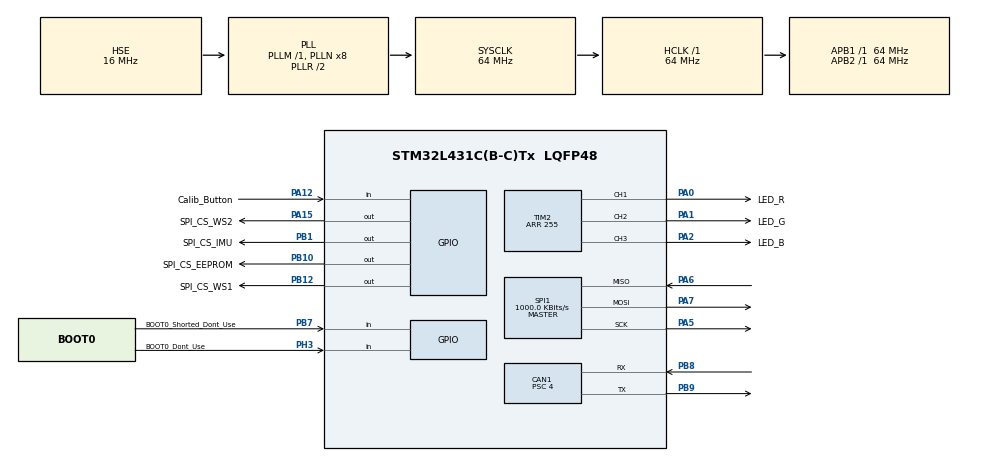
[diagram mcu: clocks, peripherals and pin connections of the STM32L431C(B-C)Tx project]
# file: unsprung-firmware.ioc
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CAN1.BS1=CAN_BS1_12TQ
CAN1.BS2=CAN_BS2_3TQ
CAN1.CalculateBaudRate=1000000
CAN1.CalculateTimeBit=1000
CAN1.CalculateTimeQuantum=62.5
CAN1.Prescaler=4
Mcu.Family=STM32L4
Mcu.Name=STM32L431C(B-C)Tx
Mcu.Package=LQFP48
NVIC.PriorityGroup=NVIC_PRIORITYGROUP_4
PA0.GPIO_Label=LED_R
PA0.GPIO_ModeDefaultPP=GPIO_MODE_AF_OD
PA0.GPIO_Speed=GPIO_SPEED_FREQ_VERY_HIGH
PA0.Signal=S_TIM2_CH1
PA1.GPIO_Label=LED_G
PA1.GPIO_ModeDefaultPP=GPIO_MODE_AF_OD
PA1.GPIO_Speed=GPIO_SPEED_FREQ_VERY_HIGH
PA1.Signal=S_TIM2_CH2
PA12.GPIO_Label=Calib_Button
PA12.Signal=GPIO_Input
PA13\ (JTMS-SWDIO).Mode=Trace_Asynchronous_SW
PA13\ (JTMS-SWDIO).Signal=SYS_JTMS-SWDIO
PA14\ (JTCK-SWCLK).Mode=Trace_Asynchronous_SW
PA14\ (JTCK-SWCLK).Signal=SYS_JTCK-SWCLK
PA15\ (JTDI).GPIO_Label=SPI_CS_WS2
PA15\ (JTDI).GPIO_Speed=GPIO_SPEED_FREQ_VERY_HIGH
PA15\ (JTDI).PinState=GPIO_PIN_SET
PA15\ (JTDI).Signal=GPIO_Output
PA2.GPIO_Label=LED_B
PA2.GPIO_ModeDefaultPP=GPIO_MODE_AF_OD
PA2.GPIO_Speed=GPIO_SPEED_FREQ_VERY_HIGH
PA2.Signal=S_TIM2_CH3
PA5.Mode=Full_Duplex_Master
PA5.Signal=SPI1_SCK
PA6.Mode=Full_Duplex_Master
PA6.Signal=SPI1_MISO
PA7.Mode=Full_Duplex_Master
PA7.Signal=SPI1_MOSI
PB1.GPIO_Label=SPI_CS_IMU
PB1.GPIO_Speed=GPIO_SPEED_FREQ_VERY_HIGH
PB1.PinState=GPIO_PIN_SET
PB1.Signal=GPIO_Output
PB10.GPIO_Label=SPI_CS_EEPROM
PB10.GPIO_Speed=GPIO_SPEED_FREQ_VERY_HIGH
PB10.PinState=GPIO_PIN_SET
PB10.Signal=GPIO_Output
PB12.GPIO_Label=SPI_CS_WS1
PB12.GPIO_Speed=GPIO_SPEED_FREQ_VERY_HIGH
PB12.PinState=GPIO_PIN_SET
PB12.Signal=GPIO_Output
PB3\ (JTDO-TRACESWO).Mode=Trace_Asynchronous_SW
PB3\ (JTDO-TRACESWO).Signal=SYS_JTDO-SWO
PB7.GPIO_Label=BOOT0_Shorted_Dont_Use
PB7.Signal=GPIO_Input
PB8.Mode=CAN_Activate
PB8.Signal=CAN1_RX
PB9.Mode=CAN_Activate
PB9.Signal=CAN1_TX
PH0-OSC_IN\ (PH0).Mode=HSE-External-Oscillator
PH0-OSC_IN\ (PH0).Signal=RCC_OSC_IN
PH1-OSC_OUT\ (PH1).Mode=HSE-External-Oscillator
PH1-OSC_OUT\ (PH1).Signal=RCC_OSC_OUT
PH3-BOOT0.GPIO_Label=BOOT0_Dont_Use
PH3-BOOT0.Signal=GPIO_Input
ProjectManager.HeapSize=0x200
ProjectManager.StackSize=0x400
ProjectManager.TargetToolchain=STM32CubeIDE
RCC.ADCFreq_Value=64000000
RCC.AHBFreq_Value=64000000
RCC.APB1Freq_Value=64000000
RCC.APB1TimFreq_Value=64000000
RCC.APB2Freq_Value=64000000
RCC.APB2TimFreq_Value=64000000
RCC.CortexFreq_Value=64000000
RCC.HCLKFreq_Value=64000000
RCC.HSE_VALUE=16000000
RCC.HSI48_VALUE=48000000
RCC.HSI_VALUE=16000000
RCC.LSE_VALUE=32768
RCC.MSI_VALUE=4000000
RCC.PLLSourceVirtual=RCC_PLLSOURCE_HSE
RCC.SYSCLKFreq_VALUE=64000000
RCC.SYSCLKSource=RCC_SYSCLKSOURCE_PLLCLK
RCC.VCOOutputFreq_Value=128000000
SH.S_TIM2_CH1.0=TIM2_CH1,PWM Generation1 CH1
SH.S_TIM2_CH2.0=TIM2_CH2,PWM Generation2 CH2
SH.S_TIM2_CH3.0=TIM2_CH3,PWM Generation3 CH3
SPI1.BaudRatePrescaler=SPI_BAUDRATEPRESCALER_64
SPI1.CLKPhase=SPI_PHASE_2EDGE
SPI1.CLKPolarity=SPI_POLARITY_HIGH
SPI1.CalculateBaudRate=1000.0 KBits/s
SPI1.DataSize=SPI_DATASIZE_8BIT
SPI1.Direction=SPI_DIRECTION_2LINES
SPI1.Mode=SPI_MODE_MASTER
SPI1.VirtualType=VM_MASTER
TIM2.AutoReloadPreload=TIM_AUTORELOAD_PRELOAD_ENABLE
TIM2.Channel-PWM\ Generation1\ CH1=TIM_CHANNEL_1
TIM2.Channel-PWM\ Generation2\ CH2=TIM_CHANNEL_2
TIM2.Channel-PWM\ Generation3\ CH3=TIM_CHANNEL_3
TIM2.OCPolarity_1=TIM_OCPOLARITY_LOW
TIM2.OCPolarity_2=TIM_OCPOLARITY_LOW
TIM2.OCPolarity_3=TIM_OCPOLARITY_LOW
TIM2.Period=255
VP_TIM2_VS_ClockSourceINT.Mode=Internal
board=custom

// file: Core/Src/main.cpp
/* USER CODE BEGIN Header */
/**
  ******************************************************************************
  * @file           : main.c
  * @brief          : Main program body
  ******************************************************************************
  * @attention
  *
  * Copyright (c) 2023 STMicroelectronics.
  * All rights reserved.
  *
  * This software is licensed under terms that can be found in the LICENSE file
  * in the root directory of this software component.
  * If no LICENSE file comes with this software, it is provided AS-IS.
  *
  ******************************************************************************
  */
/* USER CODE END Header */
#include "main.h"
#include "can.h"
#include "spi.h"
#include "tim.h"
#include "gpio.h"

/* USER CODE BEGIN Includes */
#include <cmath>
#include "angel_can.h"
#include "clock.h"
#include "led.h"
#include "wheelspeed.h"
#include "vcu.h"
#include "imu.h"
/* USER CODE END Includes */

/* USER CODE BEGIN PD */
xyz imuData;
/* USER CODE END PD */

/* USER CODE BEGIN PV */
const int loc = BACK_RIGHT;
/* USER CODE END PV */

void SystemClock_Config(void);

int main(void)
{

  /* MCU Configuration--------------------------------------------------------*/

  /* Reset of all peripherals, Initializes the Flash interface and the Systick. */
  HAL_Init();

  /* Configure the system clock */
  SystemClock_Config();

  /* Initialize all configured peripherals */
  MX_GPIO_Init();
  MX_CAN1_Init();
  MX_TIM2_Init();
  MX_SPI1_Init();
  /* USER CODE BEGIN 2 */
  clock_init();
  led_init();

  HAL_Delay(100);

  can_init(&hcan1);
  wheelspeed_init(&hspi1, loc);
  imu_init(&hspi1);
  vcu_init(loc);

  /* USER CODE END 2 */

  /* Infinite loop */
  while (1) {

    /* USER CODE BEGIN 3 */
    if (imu_isAccelReady()) imu_getAccel(&imuData);

    float deltaTime = clock_getDeltaTime();
    float magnetValue = wheelspeed_periodic(deltaTime);
    vcu_periodic(magnetValue, &imuData);
    can_periodic(deltaTime);

    if (magnetValue != 0 && imuData.x != imuData.y) {
      led_rainbow(deltaTime);
    }

  }

  /* USER CODE END 3 */
}

void SystemClock_Config(void)
{
  RCC_OscInitTypeDef RCC_OscInitStruct = {0};
  RCC_ClkInitTypeDef RCC_ClkInitStruct = {0};

  /** Configure the main internal regulator output voltage
  */
  if (HAL_PWREx_ControlVoltageScaling(PWR_REGULATOR_VOLTAGE_SCALE1) != HAL_OK)
  {
    Error_Handler();
  }

  /** Initializes the RCC Oscillators according to the specified parameters
  * in the RCC_OscInitTypeDef structure.
  */
  RCC_OscInitStruct.OscillatorType = RCC_OSCILLATORTYPE_HSE;
  RCC_OscInitStruct.HSEState = RCC_HSE_ON;
  RCC_OscInitStruct.PLL.PLLState = RCC_PLL_ON;
  RCC_OscInitStruct.PLL.PLLSource = RCC_PLLSOURCE_HSE;
  RCC_OscInitStruct.PLL.PLLM = 1;
  RCC_OscInitStruct.PLL.PLLN = 8;
  RCC_OscInitStruct.PLL.PLLP = RCC_PLLP_DIV7;
  RCC_OscInitStruct.PLL.PLLQ = RCC_PLLQ_DIV2;
  RCC_OscInitStruct.PLL.PLLR = RCC_PLLR_DIV2;
  if (HAL_RCC_OscConfig(&RCC_OscInitStruct) != HAL_OK)
  {
    Error_Handler();
  }

  /** Initializes the CPU, AHB and APB buses clocks
  */
  RCC_ClkInitStruct.ClockType = RCC_CLOCKTYPE_HCLK|RCC_CLOCKTYPE_SYSCLK
                              |RCC_CLOCKTYPE_PCLK1|RCC_CLOCKTYPE_PCLK2;
  RCC_ClkInitStruct.SYSCLKSource = RCC_SYSCLKSOURCE_PLLCLK;
  RCC_ClkInitStruct.AHBCLKDivider = RCC_SYSCLK_DIV1;
  RCC_ClkInitStruct.APB1CLKDivider = RCC_HCLK_DIV1;
  RCC_ClkInitStruct.APB2CLKDivider = RCC_HCLK_DIV1;

  if (HAL_RCC_ClockConfig(&RCC_ClkInitStruct, FLASH_LATENCY_3) != HAL_OK)
  {
    Error_Handler();
  }
}

void Error_Handler(void)
{
  /* USER CODE BEGIN Error_Handler_Debug */
  /* User can add his own implementation to report the HAL error return state */
  __disable_irq();
  while (1) {
    led_set(1.0f, 0.0f, 0.0f);
    for(volatile int x = 0; x < 2000000; x++);
    led_set(0.0f, 0.0f, 0.0f);
    for(volatile int x = 0; x < 2000000; x++);
  }
  /* USER CODE END Error_Handler_Debug */
}
